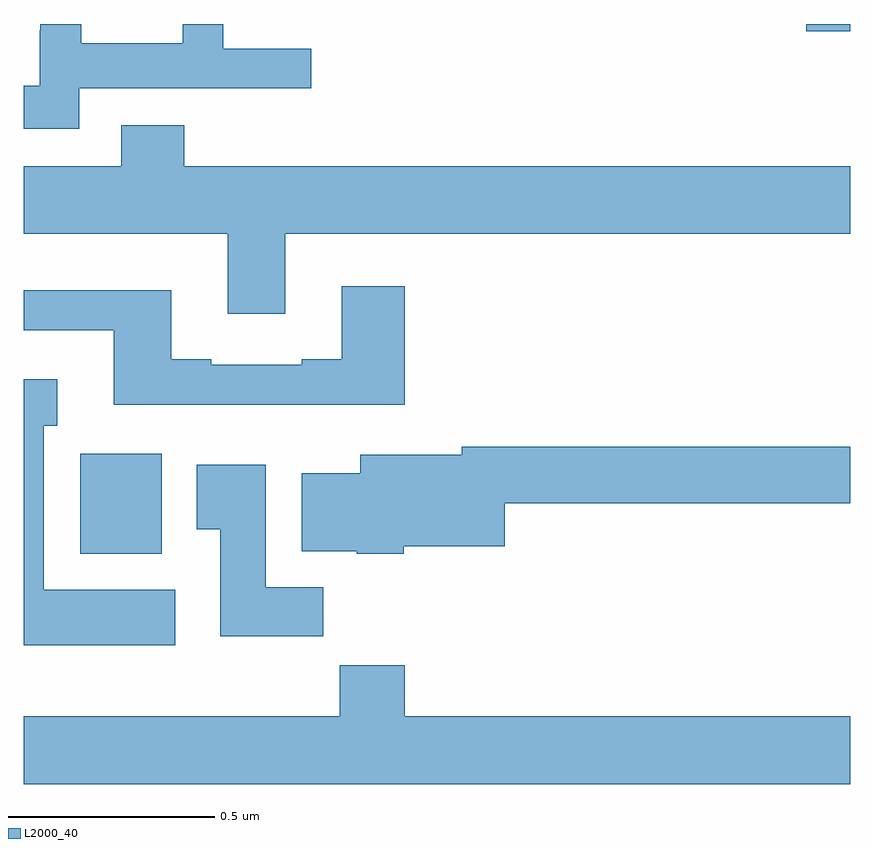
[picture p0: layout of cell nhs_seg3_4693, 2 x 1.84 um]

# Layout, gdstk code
import gdstk
lib = gdstk.Library(unit=1e-6, precision=1e-09)
def R(c, l, rs):  # rectangles x0, y0, x1, y1
    for r in rs: c.add(gdstk.rectangle(r[:2], r[2:], *l))
def P(c, l, *ps):  # polygons
    for p in ps: c.add(gdstk.Polygon(p, *l))
L2000_40 = (2000, 40)

nhs_seg3_4693 = lib.new_cell('nhs_seg3_4693')
R(nhs_seg3_4693, L2000_40, [(169.136,724.118,169.333,724.36), (170.894,725.382,171,725.4)])
P(nhs_seg3_4693, L2000_40, [(169.134,725.244),(169.696,725.244),(169.696,725.34),(169.482,725.34),(169.482,725.4),(169.384,725.4),(169.384,725.353),(169.139,725.353),(169.139,725.4),(169.04,725.4),(169.04,725.385),(169.038,725.385),(169.038,725.251),(169,725.251),(169,725.147),(169.134,725.147)],
  [(169.633,724.892),(171,724.892),(171,725.056),(169.388,725.056),(169.388,725.155),(169.235,725.155),(169.235,725.056),(169,725.056),(169,724.892),(169.493,724.892),(169.493,724.698),(169.633,724.698)],
  [(169.922,724.765),(169.769,724.765),(169.769,724.588),(169.673,724.588),(169.673,724.575),(169.453,724.575),(169.453,724.588),(169.357,724.588),(169.357,724.756),(169,724.756),(169,724.659),(169.217,724.659),(169.217,724.478),(169.922,724.478)],
  [(169.366,724.03),(169.048,724.03),(169.048,724.427),(169.081,724.427),(169.081,724.54),(169,724.54),(169,723.896),(169.366,723.896)],
  [(169.92,724.136),(170.164,724.136),(170.164,724.24),(171,724.24),(171,724.376),(170.06,724.376),(170.06,724.357),(169.814,724.357),(169.814,724.312),(169.673,724.312),(169.673,724.124),(169.806,724.124),(169.806,724.118),(169.92,724.118)],
  [(169.724,724.036),(169.585,724.036),(169.585,724.333),(169.418,724.333),(169.418,724.177),(169.475,724.177),(169.475,723.918),(169.724,723.918)],
  [(171,723.724),(169.922,723.724),(169.922,723.848),(169.765,723.848),(169.765,723.724),(169,723.724),(169,723.56),(171,723.56)])

lib.write_gds('nhs_seg3_4693.gds')
